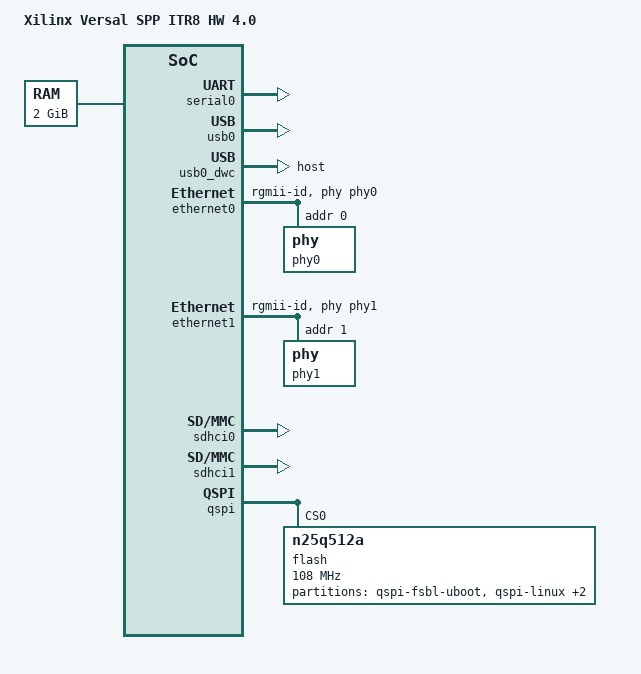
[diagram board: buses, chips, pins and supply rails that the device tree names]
// SPDX-License-Identifier: GPL-2.0
/*
 * dts file for Xilinx Versal
 *
 * (C) Copyright 2017 - 2019, Xilinx, Inc.
 *
 * Michal Simek <michal.simek@xilinx.com>
 */

/ {
	compatible = "xlnx,versal-spp-itr8-cn13940875", "xlnx,versal-spp-itr8", "xlnx,versal";
	model = "Xilinx Versal SPP ITR8 HW 4.0";
	
	aliases {
		serial0 = &serial0;
		ethernet0 = &ethernet0;
		ethernet1 = &ethernet1;
		spi0 = &qspi;
		spi1 = &ospi;
		spi2 = &spi0;
		spi3 = &spi1;
		i2c0 = &i2c0;
		i2c1 = &i2c1;
		mmc0 = &sdhci0;
		mmc1 = &sdhci1;
		usb0 = &usb0;
	};
	
	memory@0 {
		device_type = "memory";
		reg = <0 0 0 0x80000000>;
	};
	chosen {
		bootargs = "rdinit=/bin/sh console=ttyAMA0 earlycon=pl011,mmio32,0xFF000000,115200n8 clk_ignore_unused maxcpus=1";
		stdout-path = "serial0:115200";
	};
	
	clk25: clk25 {
		u-boot,dm-pre-reloc;
		compatible = "fixed-clock";
		#clock-cells = <0>;
		clock-frequency = <25000000>;
	};

	clk100: clk100 {
		compatible = "fixed-clock";
		#clock-cells = <0>;
		clock-frequency = <100000000>;
	};

	clk125: clk125 {
		compatible = "fixed-clock";
		#clock-cells = <0>;
		clock-frequency = <125000000>;
	};

	clk200: clk200 {
		compatible = "fixed-clock";
		#clock-cells = <0>;
		clock-frequency = <200000000>;
	};
};

&timer {
	clock-frequency = <2720000>;
};

&serial0 {
	status = "okay";
	clocks = <&clk25 &clk25>;
};

&lpd_dma_chan0 {
	status = "okay";
	clocks = <&clk100 &clk100>;
};

&lpd_dma_chan1 {
	status = "okay";
	clocks = <&clk100 &clk100>;
};

&lpd_dma_chan2 {
	status = "okay";
	clocks = <&clk100 &clk100>;
};

&lpd_dma_chan3 {
	status = "okay";
	clocks = <&clk100 &clk100>;
};

&lpd_dma_chan4 {
	status = "okay";
	clocks = <&clk100 &clk100>;
};

&lpd_dma_chan5 {
	status = "okay";
	clocks = <&clk100 &clk100>;
};

&lpd_dma_chan6 {
	status = "okay";
	clocks = <&clk100 &clk100>;
};

&lpd_dma_chan7 {
	status = "okay";
	clocks = <&clk100 &clk100>;
};

&usb0 {
	status = "okay";
	clocks = <&clk125 &clk125>;
};

&usb0_dwc {
	status = "okay";
	dr_mode = "host";
	snps,usb3_lpm_capable;
	phy-names = "usb3-phy";
	maximum-speed = "high-speed";
};

&ethernet0 {
	status = "okay";
	clocks = <&clk125 &clk125 &clk125 &clk125>;
	phy-handle = <&phy0>;
	phy-mode = "rgmii-id";
        phy0: phy@0 {
		reg = <0x0>;
		max-speed = <100>;
		ti,rx-internal-delay = <0xb>;
		ti,tx-internal-delay = <0xa>;
		ti,fifo-depth = <0x1>;
		ti,dp83867-rxctrl-strap-quirk;
	};
};

&ethernet1 {
	status = "okay";
	clocks = <&clk125 &clk125 &clk125 &clk125>;
	phy-handle = <&phy1>;
	phy-mode = "rgmii-id";
        phy1: phy@1 {
		reg = <0x1>;
		max-speed = <100>;
		ti,rx-internal-delay = <0xb>;
		ti,tx-internal-delay = <0xa>;
		ti,fifo-depth = <0x1>;
		ti,dp83867-rxctrl-strap-quirk;
	};
};

&sdhci0 {
	status = "okay";
	clocks = <&clk25 &clk25>;
	no-1-8-v;
	xlnx,mio_bank = <0>;
};

&sdhci1 {
	status = "okay";
	clocks = <&clk25 &clk25>;
	no-1-8-v;
	xlnx,mio_bank = <0>;
};

&qspi {
	status = "okay";
	num-cs = <0x1>;
	reg = <0x0 0xf1030000 0x0 0x1000>;
	clocks = <&clk125 &clk125>;
	is-dual = <1>;
	spi-rx-bus-width = <4>;
	spi-tx-bus-width = <4>;
	
	flash@0 {
		compatible = "n25q512a", "micron,m25p80", "spi-flash";
		reg = <0x0>;
		spi-tx-bus-width = <1>;
		spi-rx-bus-width = <4>;
		spi-max-frequency = <108000000>;

		partitions {
			compatible = "fixed-partitions";
			#address-cells = <1>;
			#size-cells = <1>;

			partition@0 {
				label = "qspi-fsbl-uboot";
				reg = <0x0 0x100000>;
			};
			partition@100000 {
				label = "qspi-linux";
				reg = <0x100000 0x500000>;
			};
			partition@600000 {
				label = "qspi-device-tree";
				reg = <0x600000 0x20000>;
			};
			partition@620000 {
				label = "qspi-rootfs";
				reg = <0x620000 0x5E0000>;
			};
		};
	};
};
